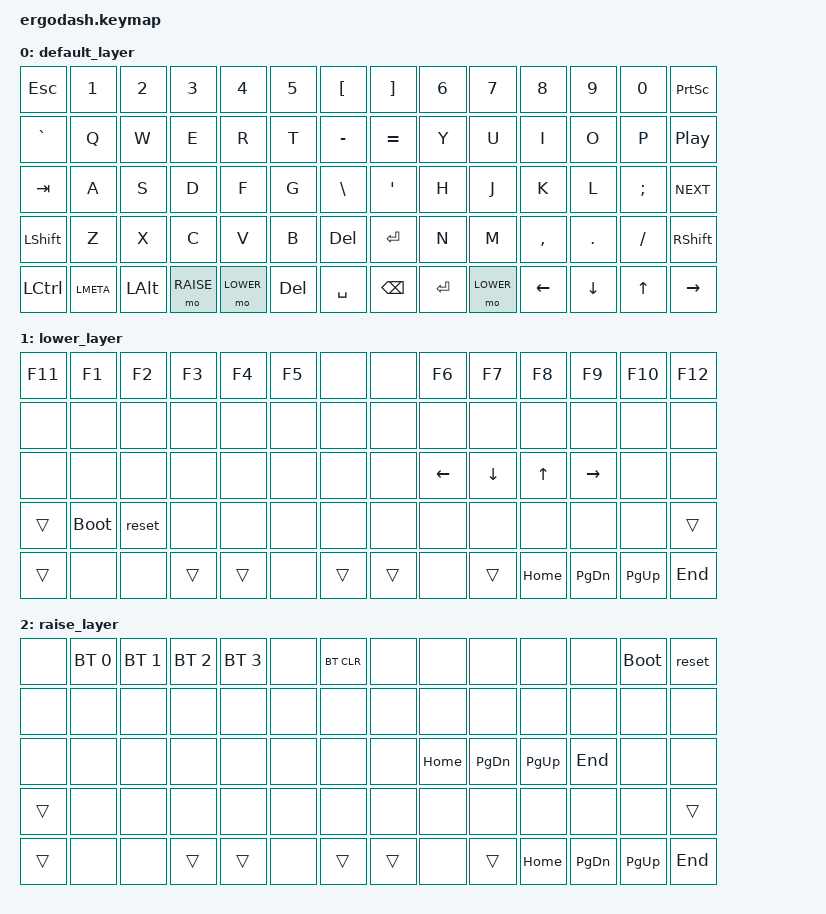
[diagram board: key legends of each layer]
/*
 * Copyright (c) 2020 The ZMK Contributors
 *
 * SPDX-License-Identifier: MIT
 */

#include <behaviors.dtsi>
#include <dt-bindings/zmk/keys.h>
#include <dt-bindings/zmk/bt.h>

#define DEFAULT 0
#define LOWER   1
#define RAISE   2


/ {
        keymap {
                compatible = "zmk,keymap";

                default_layer {
/* QWERTY
 * .----------------------------------------------------------------------------------------------------------------------.
 * |  `   |   1  |   2  |   3  |   4  |   5  |  [   |                    |  ]   |   6  |   7  |   8  |   9  |   0  | PScr |
 * |------+------+------+------+------+------+------+--------------------+------+------+------+------+------+------+------|
 * | ESC  |   Q  |   W  |   E  |   R  |   T  |  -   |                    |  =   |   Y  |   U  |   I  |   O  |   P  |  PLAY|
 * |------+------+------+------+------+------+------+--------------------+------+------+------+------+------+------+------|
 * | Tab  |   A  |   S  |   D  |   F  |   G  | \    |                    | '    |   H  |   J  |   K  |   L  |   ;  |  NEXT|
 * |------+------+------+------+------+------+---------------------------+------+------+------+------+------+------+------|
 * | Shift|   Z  |   X  |   C  |   V  |   B  | Del  |                    | Enter   N  |   M  |   ,  |   .  |   /  | Shift|
 * |-------------+------+------+------+------+------+------+------+------+------+------+------+------+------+-------------|
 * | Ctrl |  META    | Alt | Raise  |||||||| Lower  | Del| Space|||||||| BackSpace| Enter| RAlt ||||||||      | PGUP | Ins  | RCtrl|
 * .----------------------------------------------------------------------------------------------------------------------.
 */
                        bindings = <
&kp  ESC      &kp  N1       &kp  N2       &kp  N3       &kp  N4       &kp  N5       &kp  LBKT               &kp  RBKT     &kp  N6       &kp  N7       &kp  N8       &kp  N9       &kp  N0       &kp  PSCRN
&kp  GRAVE    &kp  Q        &kp  W        &kp  E        &kp  R        &kp  T        &kp  MINUS              &kp  EQUAL    &kp  Y        &kp  U        &kp  I        &kp  O        &kp  P        &kp  C_PP
&kp  TAB      &kp  A        &kp  S        &kp  D        &kp  F        &kp  G        &kp  BSLH               &kp  SQT      &kp  H        &kp  J        &kp  K        &kp  L        &kp  SEMI     &kp  C_NEXT
&kp  LSHFT    &kp  Z        &kp  X        &kp  C        &kp  V        &kp  B        &kp  DEL                &kp  RET      &kp  N        &kp  M        &kp  COMMA    &kp  DOT      &kp  SLASH    &kp  RSHFT
&kp  LCTRL    &kp LMETA     &kp  LALT     &mo  RAISE    &mo  LOWER    &kp  DEL      &kp SPACE               &kp BSPC      &kp  RET      &mo  LOWER    &kp LEFT      &kp  DOWN     &kp  UP       &kp  RIGHT
                        >;
                };
                lower_layer {
/* .----------------------------------------------------------------------------------------------------------------------.
 * |  F11 |  F1  |  F2  |  F3  |  F4  |  F5  |      |                    |      |  F6  |  F7  |  F8  |  F9  |  F10 |  F12 |
 * |------+------+------+------+------+------+------+--------------------+------+------+------+------+------+------+------|
 * |      |      |      |      |      |      |      |                    |      |      |      |      |      |      |      |
 * |------+------+------+------+------+------+------+--------------------+------+------+------+------+------+------+------|
 * |      |      |      |      |      |      |      |                    |      |      |      |      |      |      |      |
 * |------+------+------+------+------+------+---------------------------+------+------+------+------+------+------+------|
 * | Shift| Boot | Reset|      |      |      |      |                    |      |      |      |      |      |      | Shift|
 * |-------------+------+------+------+------+------+------+------+------+------+------+------+------+------+-------------|
 * | Ctlr |      |      |  Win |||||||| Alt  |      | Lower|||||||| Raise|      | RAlt |||||||| HOME|PG_DN|PG_UP| END|
 * .----------------------------------------------------------------------------------------------------------------------.
 */ /* FIXME boot and reset are not yet locale aware */
                        bindings = <
&kp  F11      &kp  F1       &kp  F2       &kp  F3       &kp  F4       &kp  F5       &none                  &none         &kp  F6       &kp  F7       &kp  F8       &kp  F9       &kp  F10      &kp  F12
&none         &none         &none         &none         &none         &none         &none                  &none         &none         &none         &none         &none         &none         &none
&none         &none         &none         &none         &none         &none         &none                  &none         &kp LEFT      &kp  DOWN     &kp  UP       &kp  RIGHT    &none         &none
&trans        &bootloader   &reset        &none         &none         &none         &none                  &none         &none         &none         &none         &none         &none         &trans
&trans        &none         &none         &trans        &trans        &none         &trans                 &trans        &none         &trans        &kp HOME      &kp PG_DN     &kp PG_UP     &kp END
                        >;
                };
                raise_layer {
/* .----------------------------------------------------------------------------------------------------------------------.
 * |      | BT 0 | BT 1 | BT 2 | BT 3 |      | BTCL |                    |      |      |      |      |      |      |      |
 * |------+------+------+------+------+------+------+--------------------+------+------+------+------+------+------+------|
 * |      |      |      |      |      |      |      |                    |      |      |      |      |      |      |      |
 * |------+------+------+------+------+------+------+--------------------+------+------+------+------+------+------+------|
 * |      |      |      |      |      |      |      |                    |      |      |      |      |      |      |      |
 * |------+------+------+------+------+------+---------------------------+------+------+------+------+------+------+------|
 * | Shift|      |      |      |      |      |      |                    |      |      |      |      | Boot | Reset| Shift|
 * |-------------+------+------+------+------+------+------+------+------+------+------+------+------+------+-------------|
 * | Ctlr |      |      |  Win |||||||| Alt  |      | Lower|||||||| Raise|      | RAlt ||||||||      |BT_PRV|BT_NXT| RCtrl|
 * .----------------------------------------------------------------------------------------------------------------------.
 */ /* FIXME boot and reset are not yet locale aware */
                        bindings = <
&none         &bt BT_SEL 0  &bt BT_SEL 1  &bt BT_SEL 2  &bt BT_SEL 3  &none         &bt BT_CLR             &none         &none         &none         &none         &none         &bootloader   &reset
&none         &none         &none         &none         &none         &none         &none                  &none         &none         &none         &none         &none         &none         &none
&none         &none         &none         &none         &none         &none         &none                  &none         &kp HOME      &kp PG_DN     &kp PG_UP     &kp END       &none         &none
&trans        &none         &none         &none         &none         &none         &none                  &none         &none         &none         &none         &none         &none         &trans
&trans        &none         &none         &trans        &trans        &none         &trans                 &trans        &none         &trans        &kp HOME      &kp PG_DN     &kp PG_UP     &kp END
                        >;
                };
        };
};
